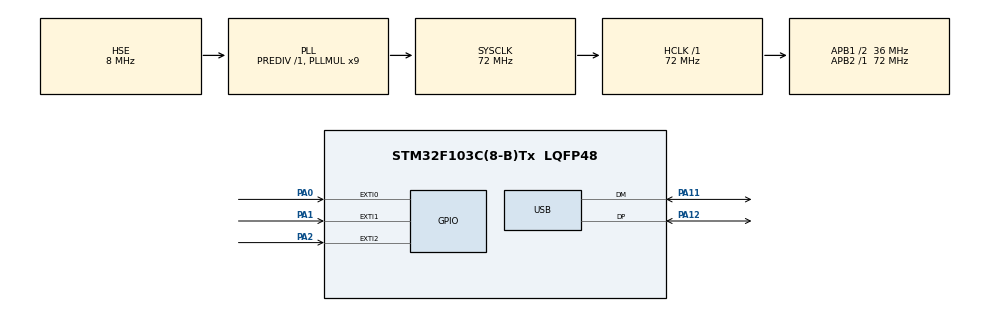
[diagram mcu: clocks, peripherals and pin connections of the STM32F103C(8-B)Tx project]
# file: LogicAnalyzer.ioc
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Mcu.Family=STM32F1
Mcu.Name=STM32F103C(8-B)Tx
Mcu.Package=LQFP48
NVIC.EXTI0_IRQn=true\:0\:0\:false\:false\:true\:true\:true\:true
NVIC.EXTI1_IRQn=true\:0\:0\:false\:false\:true\:true\:true\:true
NVIC.EXTI2_IRQn=true\:0\:0\:false\:false\:true\:true\:true\:true
NVIC.PriorityGroup=NVIC_PRIORITYGROUP_4
NVIC.USB_HP_CAN1_TX_IRQn=true\:0\:0\:false\:false\:true\:true\:true\:true
NVIC.USB_LP_CAN1_RX0_IRQn=true\:0\:0\:false\:false\:true\:false\:true\:true
PA0-WKUP.GPIO_ModeDefaultEXTI=GPIO_MODE_IT_RISING_FALLING
PA0-WKUP.GPIO_PuPd=GPIO_PULLUP
PA0-WKUP.Signal=GPXTI0
PA1.GPIO_ModeDefaultEXTI=GPIO_MODE_IT_RISING_FALLING
PA1.GPIO_PuPd=GPIO_PULLUP
PA1.Signal=GPXTI1
PA11.Mode=Device
PA11.Signal=USB_DM
PA12.Mode=Device
PA12.Signal=USB_DP
PA13.Mode=Serial_Wire
PA13.Signal=SYS_JTMS-SWDIO
PA14.Mode=Serial_Wire
PA14.Signal=SYS_JTCK-SWCLK
PA2.GPIO_ModeDefaultEXTI=GPIO_MODE_IT_RISING_FALLING
PA2.GPIO_PuPd=GPIO_PULLUP
PA2.Signal=GPXTI2
PC14-OSC32_IN.Mode=LSE-External-Oscillator
PC14-OSC32_IN.Signal=RCC_OSC32_IN
PC15-OSC32_OUT.Mode=LSE-External-Oscillator
PC15-OSC32_OUT.Signal=RCC_OSC32_OUT
PD0-OSC_IN.Mode=HSE-External-Oscillator
PD0-OSC_IN.Signal=RCC_OSC_IN
PD1-OSC_OUT.Mode=HSE-External-Oscillator
PD1-OSC_OUT.Signal=RCC_OSC_OUT
ProjectManager.HeapSize=0x200
ProjectManager.StackSize=0x400
ProjectManager.TargetToolchain=CMake
RCC.AHBFreq_Value=72000000
RCC.APB1CLKDivider=RCC_HCLK_DIV2
RCC.APB1Freq_Value=36000000
RCC.APB1TimFreq_Value=72000000
RCC.APB2Freq_Value=72000000
RCC.APB2TimFreq_Value=72000000
RCC.HCLKFreq_Value=72000000
RCC.PLLMUL=RCC_PLL_MUL9
RCC.PLLSourceVirtual=RCC_PLLSOURCE_HSE
RCC.SYSCLKFreq_VALUE=72000000
RCC.SYSCLKSource=RCC_SYSCLKSOURCE_PLLCLK
RCC.USBFreq_Value=48000000
RCC.USBPrescaler=RCC_USBCLKSOURCE_PLL_DIV1_5
USB_DEVICE.CLASS_NAME_FS=CDC
USB_DEVICE.PRODUCT_STRING_CDC_FS=LogicAnalyzer
USB_DEVICE.VirtualMode=Cdc
USB_DEVICE.VirtualModeFS=Cdc_FS
VP_USB_DEVICE_VS_USB_DEVICE_CDC_FS.Mode=CDC_FS
board=custom

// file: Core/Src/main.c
/* USER CODE BEGIN Header */
/**
  ******************************************************************************
  * @file           : main.c
  * @brief          : Main program body
  ******************************************************************************
  * @attention
  *
  * Copyright (c) 2025 STMicroelectronics.
  * All rights reserved.
  *
  * This software is licensed under terms that can be found in the LICENSE file
  * in the root directory of this software component.
  * If no LICENSE file comes with this software, it is provided AS-IS.
  *
  ******************************************************************************
  */
/* USER CODE END Header */
#include "main.h"
#include "usb_device.h"
#include "gpio.h"
#include "usbd_cdc_if.h"

void SystemClock_Config(void);

/* USER CODE BEGIN 0 */
uint8_t Tx_buffer[13000];
uint32_t start = 0;
uint16_t maxPoints=12500;
uint8_t sampComplete=1;
/* USER CODE END 0 */

int main(void)
{

  /* MCU Configuration--------------------------------------------------------*/

  /* Reset of all peripherals, Initializes the Flash interface and the Systick. */
  HAL_Init();

  /* Configure the system clock */
  SystemClock_Config();

  /* Initialize all configured peripherals */
  MX_GPIO_Init();
  MX_USB_DEVICE_Init();
  /* USER CODE BEGIN 2 */
  HAL_NVIC_DisableIRQ(EXTI0_IRQn);
  HAL_NVIC_DisableIRQ(EXTI1_IRQn);
  HAL_NVIC_DisableIRQ(EXTI2_IRQn);
  __HAL_GPIO_EXTI_CLEAR_IT(GPIO_PIN_0|GPIO_PIN_1|GPIO_PIN_2);  // 清除挂起的中断标志

  /* USER CODE END 2 */

  /* Infinite loop */
    while (1) {

    /* USER CODE BEGIN 3 */
      while (start<maxPoints);

      HAL_NVIC_DisableIRQ(EXTI0_IRQn);
      HAL_NVIC_DisableIRQ(EXTI1_IRQn);
      HAL_NVIC_DisableIRQ(EXTI2_IRQn);
      __HAL_GPIO_EXTI_CLEAR_IT(GPIO_PIN_0|GPIO_PIN_1|GPIO_PIN_2);  // 清除挂起的中断标志
      CDC_Transmit_FS(Tx_buffer, maxPoints);
      start=0;
      sampComplete=1;
    }
  /* USER CODE END 3 */
}

void SystemClock_Config(void)
{
  RCC_OscInitTypeDef RCC_OscInitStruct = {0};
  RCC_ClkInitTypeDef RCC_ClkInitStruct = {0};
  RCC_PeriphCLKInitTypeDef PeriphClkInit = {0};

  /** Initializes the RCC Oscillators according to the specified parameters
  * in the RCC_OscInitTypeDef structure.
  */
  RCC_OscInitStruct.OscillatorType = RCC_OSCILLATORTYPE_HSE;
  RCC_OscInitStruct.HSEState = RCC_HSE_ON;
  RCC_OscInitStruct.HSEPredivValue = RCC_HSE_PREDIV_DIV1;
  RCC_OscInitStruct.HSIState = RCC_HSI_ON;
  RCC_OscInitStruct.PLL.PLLState = RCC_PLL_ON;
  RCC_OscInitStruct.PLL.PLLSource = RCC_PLLSOURCE_HSE;
  RCC_OscInitStruct.PLL.PLLMUL = RCC_PLL_MUL9;
  if (HAL_RCC_OscConfig(&RCC_OscInitStruct) != HAL_OK)
  {
    Error_Handler();
  }

  /** Initializes the CPU, AHB and APB buses clocks
  */
  RCC_ClkInitStruct.ClockType = RCC_CLOCKTYPE_HCLK|RCC_CLOCKTYPE_SYSCLK
                              |RCC_CLOCKTYPE_PCLK1|RCC_CLOCKTYPE_PCLK2;
  RCC_ClkInitStruct.SYSCLKSource = RCC_SYSCLKSOURCE_PLLCLK;
  RCC_ClkInitStruct.AHBCLKDivider = RCC_SYSCLK_DIV1;
  RCC_ClkInitStruct.APB1CLKDivider = RCC_HCLK_DIV2;
  RCC_ClkInitStruct.APB2CLKDivider = RCC_HCLK_DIV1;

  if (HAL_RCC_ClockConfig(&RCC_ClkInitStruct, FLASH_LATENCY_2) != HAL_OK)
  {
    Error_Handler();
  }
  PeriphClkInit.PeriphClockSelection = RCC_PERIPHCLK_USB;
  PeriphClkInit.UsbClockSelection = RCC_USBCLKSOURCE_PLL_DIV1_5;
  if (HAL_RCCEx_PeriphCLKConfig(&PeriphClkInit) != HAL_OK)
  {
    Error_Handler();
  }
}

void Error_Handler(void)
{
    __disable_irq();
    while (1) {
    }
}
